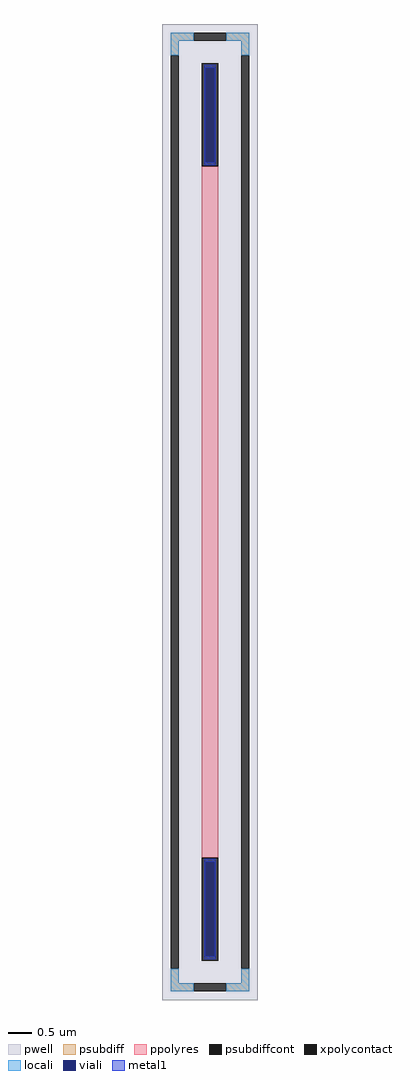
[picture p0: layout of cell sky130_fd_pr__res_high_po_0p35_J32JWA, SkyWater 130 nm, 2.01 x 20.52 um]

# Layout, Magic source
magic
tech sky130A
magscale 1 2
<< pwell >>
rect -201 -2052 201 2052
<< psubdiff >>
rect -165 1982 -69 2016
rect 69 1982 165 2016
rect -165 1920 -131 1982
rect 131 1920 165 1982
rect -165 -1982 -131 -1920
rect 131 -1982 165 -1920
rect -165 -2016 -69 -1982
rect 69 -2016 165 -1982
<< psubdiffcont >>
rect -69 1982 69 2016
rect -165 -1920 -131 1920
rect 131 -1920 165 1920
rect -69 -2016 69 -1982
<< xpolycontact >>
rect -35 1454 35 1886
rect -35 -1886 35 -1454
<< ppolyres >>
rect -35 -1454 35 1454
<< locali >>
rect -165 1982 -69 2016
rect 69 1982 165 2016
rect -165 1920 -131 1982
rect 131 1920 165 1982
rect -165 -1982 -131 -1920
rect 131 -1982 165 -1920
rect -165 -2016 -69 -1982
rect 69 -2016 165 -1982
<< viali >>
rect -19 1471 19 1868
rect -19 -1868 19 -1471
<< metal1 >>
rect -25 1868 25 1880
rect -25 1471 -19 1868
rect 19 1471 25 1868
rect -25 1459 25 1471
rect -25 -1471 25 -1459
rect -25 -1868 -19 -1471
rect 19 -1868 25 -1471
rect -25 -1880 25 -1868
<< properties >>
string FIXED_BBOX -148 -1999 148 1999
string gencell sky130_fd_pr__res_high_po_0p35
string library sky130
string parameters w 0.350 l 14.7 m 1 nx 1 wmin 0.350 lmin 0.50 rho 319.8 val 14.544k dummy 0 dw 0.0 term 194.82 sterm 0.0 caplen 0 guard 1 glc 1 grc 1 gtc 1 gbc 1 compatible {sky130_fd_pr__res_high_po_0p35  sky130_fd_pr__res_high_po_0p69 sky130_fd_pr__res_high_po_1p41  sky130_fd_pr__res_high_po_2p85 sky130_fd_pr__res_high_po_5p73} snake 0 full_metal 1 wmax 0.350 vias 1 n_guard 0 hv_guard 0 viagb 0 viagt 0 viagl 0 viagr 0
<< end >>
